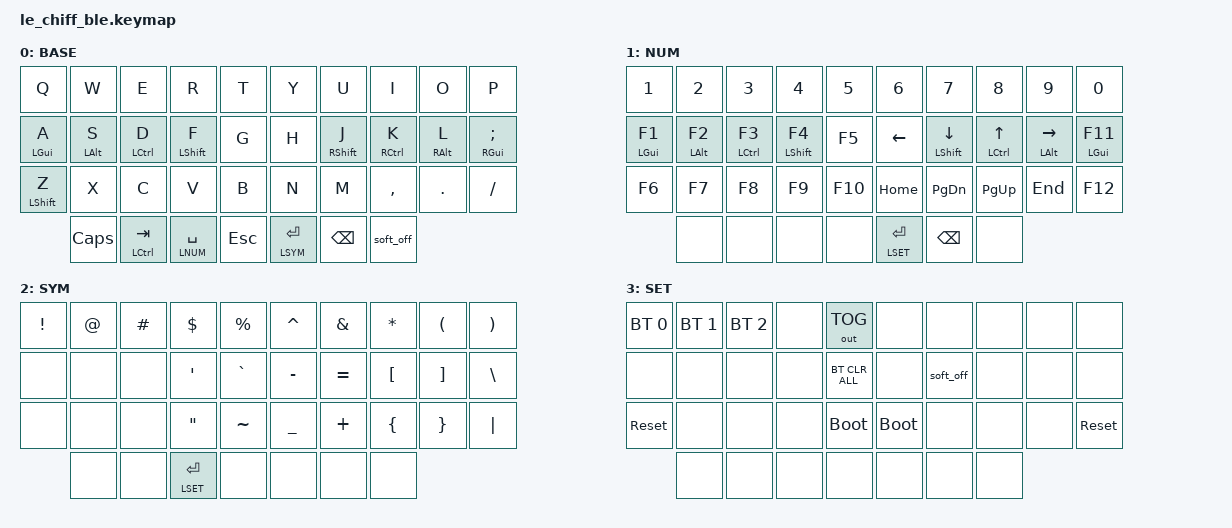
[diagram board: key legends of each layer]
#include <behaviors.dtsi>
#include <dt-bindings/zmk/keys.h>
#include <dt-bindings/zmk/bt.h>
#include <dt-bindings/zmk/outputs.h>


#define LNUM 1
#define LSYM 2
#define LSET 3

&mt {
    tapping-term-ms = <220>;
    quick-tap-ms = <200>;
    require-prior-idle-ms = <125>;
    flavor = "tap-preferred";
};

&lt {
    tapping-term-ms = <220>;
    quick-tap-ms = <200>;
    require-prior-idle-ms = <125>;
    flavor = "tap-preferred";
};

&soft_off {
    hold-time-ms = <1000>;
};

 //   0  1  2  3  4     5  6  7  8  9
 //  10 11 12 13 14    15 16 17 18 19
 //  20 21 22 23 24    25 26 27 28 29
 //        30 31 32 33 34 35 36

/ {
    
     combos {
        compatible = "zmk,combos";

        combo_esc {
            bindings = <&kp ESC>;
            key-positions = <1 2>;
            timeout-ms = <70>;
        };

        combo_lbrc {
            bindings = <&kp LBRC>;
            key-positions = <2 3>;
            timeout-ms = <70>;
        };
        combo_rbrc {
            bindings = <&kp RBRC>;
            key-positions = <6 7>;
            timeout-ms = <70>;
        };

        combo_lbkt {
            bindings = <&kp LBKT>;
            key-positions = <21 22>;
            timeout-ms = <70>;
        };
        combo_rbkt {
            bindings = <&kp RBKT>;
            key-positions = <27 28>;
            timeout-ms = <70>;
        };

        combo_lpar {
            bindings = <&kp LPAR>;
            key-positions = <22 23>;
            timeout-ms = <70>;
        };
        combo_rpar {
            bindings = <&kp RPAR>;
            key-positions = <26 27>;
            timeout-ms = <70>;
        };

        combo_minus {
            bindings = <&kp MINUS>;
            key-positions = <2 7>;
            timeout-ms = <70>;
        };
        combo_under {
            bindings = <&kp UNDER>;
            key-positions = <1 8>;
            timeout-ms = <70>;
        };

        combo_sqt {
            bindings = <&kp SQT>;
            key-positions = <23 26>;
            timeout-ms = <70>;
        };
        combo_dqt {
            bindings = <&kp DQT>;
            key-positions = <22 27>;
            timeout-ms = <70>;
        };
        combo_bspc {
            bindings = <&kp BSPC>;
            key-positions = <7 8>;
            timeout-ms = <70>;
        };

    };

     td_shift: tap_dance_shift {
            compatible = "zmk,behavior-tap-dance";
            #binding-cells = <0>;
            tapping-term-ms = <200>;
            bindings = <&mt RSHIFT RET>, <&caps_word>;
    };

    macros {
    };

        keymap {
            compatible = "zmk,keymap";
            base_layer {
                display-name = "BASE";
                bindings = <

    &kp Q       &kp W       &kp E       &kp R       &kp T          &kp Y       &kp U       &kp I       &kp O       &kp P
    &mt LGUI A  &mt LALT S  &mt LCTRL D &mt LSHFT F &kp G          &kp H       &mt RSHFT J &mt RCTRL K &mt RALT L  &mt RGUI SEMI
    &mt LSHFT Z &kp X       &kp C       &kp V       &kp B          &kp N       &kp M       &kp COMMA   &kp DOT     &kp FSLH
                 &kp CAPS  &mt LCTRL TAB    &lt LNUM SPACE &kp ESC &lt LSYM RET   &kp BSPC &soft_off  
                >;
            };

            num_layer {
                display-name = "NUM";
                bindings = <

    &kp N1       &kp N2       &kp N3        &kp N4         &kp N5        &kp N6    &kp N7           &kp N8        &kp N9          &kp N0
    &mt LGUI F1  &mt LALT F2  &mt LCTRL F3  &mt LSHIFT F4  &kp F5        &kp LEFT  &mt LSHIFT DOWN  &mt LCTRL UP  &mt LALT RIGHT  &mt LGUI F11
    &kp F6       &kp F7       &kp F8        &kp F9         &kp F10       &kp HOME  &kp PG_DN        &kp PG_UP     &kp END         &kp F12
                                   &none    &none          &none  &none  &lt LSET RET   &kp BSPC  &none
                >;
            };

            sym_layer {
                display-name = "SYM";
                bindings = <

    &kp EXCL  &kp AT  &kp HASH  &kp DLLR  &kp PRCNT          &kp CARET  &kp AMPS   &kp STAR  &kp LPAR  &kp RPAR
    &none     &none   &none     &kp SQT   &kp GRAVE          &kp MINUS  &kp EQUAL  &kp LBKT  &kp RBKT  &kp BSLH
    &none     &none   &none     &kp DQT   &kp TILDE          &kp UNDER  &kp PLUS   &kp LBRC  &kp RBRC  &kp PIPE
                          &none &none  &lt LSET RET   &none  &none  &none &none
                >;
            };

            setting_layer {
                display-name = "SET";
                bindings = <

&bt BT_SEL 0  &bt BT_SEL 1  &bt BT_SEL 2  &none    &out OUT_TOG        &none        &none         &none  &none  &none
&none         &none         &none         &none    &bt BT_CLR_ALL      &none        &soft_off     &none  &none  &none
&sys_reset    &none         &none         &none    &bootloader         &bootloader  &none         &none  &none  &sys_reset
                            &none         &none    &none     &none     &none        &none         &none
                >;           
            };

        };
};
